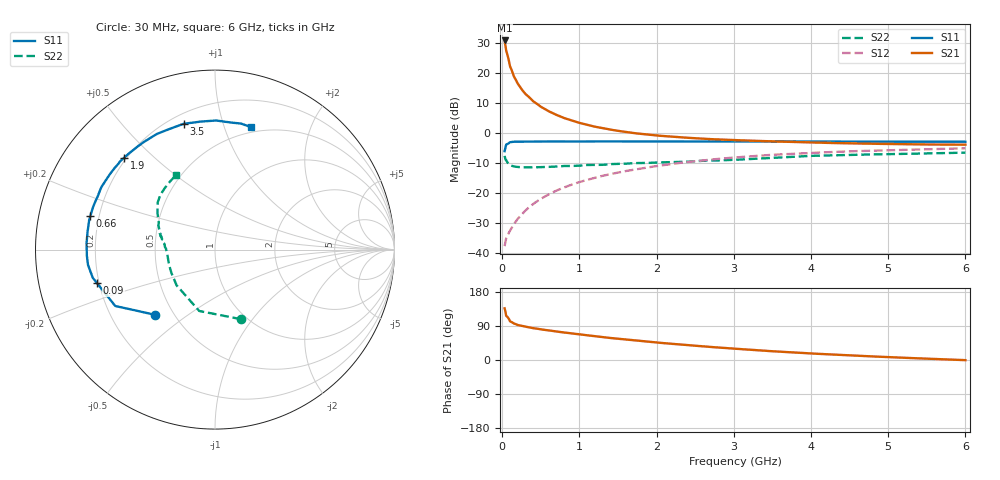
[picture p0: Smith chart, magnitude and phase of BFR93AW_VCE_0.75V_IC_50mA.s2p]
! Infineon Technologies  Discrete & RF Semiconductors
! BFR93AW
! VCE = 0.75 V,  IC =  50 mA
! Common Emitter S-Parameters:  Nov 2015
# GHz  S  MA  R  50
!  f  S11  S21  S12  S22
! GHz  MAG  ANG  MAG  ANG  MAG  ANG  MAG  ANG
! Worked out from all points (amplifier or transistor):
!   206 points, 30 MHz to 6 GHz, reference 50 ohm
!   highest |S21| = 30.8 dB at 30 MHz (marker M1)
!   |S21| within 3 dB of that: start of sweep to 48.15 MHz
!   unconditionally stable (mu >= 1): 119.1 MHz to end of sweep
!   at 200 MHz: K = 1.18, MAG = 20.0 dB, |S12| = -28.7 dB
!   at 1.56 GHz: K = 1.25, MAG = 3.7 dB, |S12| = -12.9 dB
!   at 6 GHz: K = 1.06, MAG = -0.8 dB, |S12| = -5.1 dB
!   S11 on the Smith chart (normalised r, x): 30 MHz: 0.39, -0.38; 90 MHz: 0.19, -0.14; 660 MHz: 0.17, +0.13; 1.9 GHz: 0.19, +0.40; 3.5 GHz: 0.26, +0.75; 6 GHz: 0.45, +1.24
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0.03  0.4943 -132.7  34.82 136.4  0.0129 56.0  0.414 -69.5
0.05  0.6383 -150.5  23.79 116.7  0.0174 49.0  0.353 -104.4
0.09  0.6825 -164.0  15.01 106.6  0.0222 52.5  0.2958 -129.6
0.1  0.6989 -167.0  12.95 102.0  0.0234 53.2  0.2923 -137.0
0.15  0.7128 -173.2  8.763 96.3  0.0299 59.7  0.2763 -151.0
0.2  0.7147 -177.3  6.646 92.4  0.0368 63.4  0.2702 -158.9
0.24  0.7147 -179.9  5.59 90.4  0.042 65.6  0.2685 -163.2
0.26  0.7151 179.0  5.153 89.4  0.0448 66.5  0.2679 -165.0
0.3  0.7165 177.2  4.46 87.6  0.0507 67.9  0.2668 -167.6
0.4  0.7168 173.1  3.371 84.0  0.0652 69.1  0.2661 -173.2
0.5  0.7177 169.8  2.726 80.8  0.0794 70.1  0.2696 -177.0
0.66  0.7192 165.0  2.12 76.4  0.1028 69.8  0.2728 179.3
0.8  0.7196 160.8  1.771 72.5  0.1229 68.8  0.2804 176.6
1.04  0.7184 154.6  1.425 66.6  0.1566 66.6  0.2867 173.1
1.4  0.721 145.9  1.135 58.1  0.2052 62.4  0.3014 168.9
1.9  0.72 134.7  0.934 48.1  0.2685 56.3  0.3161 163.7
2.02  0.7191 132.1  0.9 45.8  0.2823 54.7  0.3216 163.4
3.1  0.7183 110.9  0.751 28.6  0.3963 40.6  0.3602 151.5
3.5  0.7226 104.0  0.722 23.1  0.4313 35.7  0.3825 147.0
4.1  0.7172 94.8  0.688 16.2  0.4704 28.1  0.4171 139.2
5.1  0.7134 82.6  0.651 6.7  0.5176 17.6  0.4442 128.2
6  0.7115 73.5  0.636 -0.4  0.5539 9.4  0.4683 117.7
